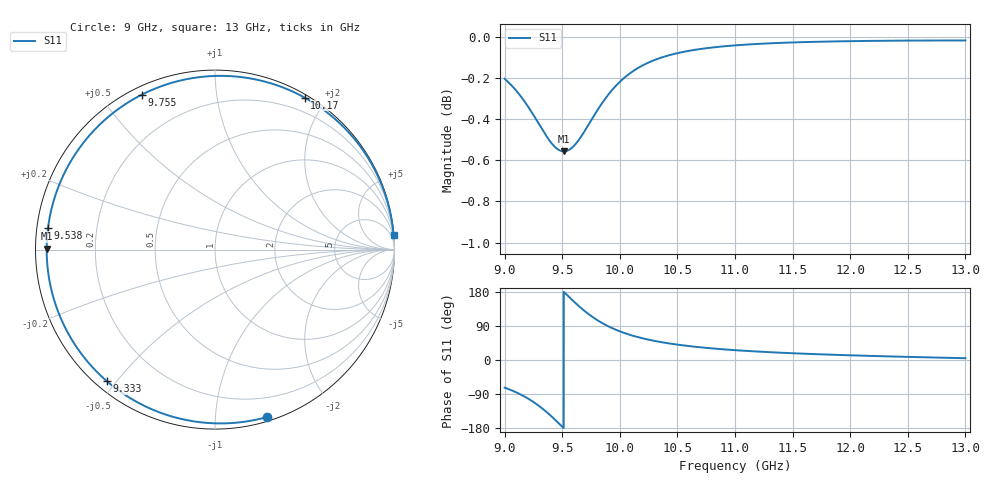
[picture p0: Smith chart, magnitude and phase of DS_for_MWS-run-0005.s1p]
! TOUCHSTONE file generated by CST DESIGN STUDIO
! Date and time: Wed Feb  5 13:31:15 2025
! Project name: C:\Work\MatlabApps\UnitCellOptimizationMatlab\CST\unitcell.cst
! Tree item: Tasks\Sweep1\SPara1\S-Parameters
! Header version: 2024
! Port assignment regex: !\s*Touchstone port\s*([0-9]+)\s*=\s*(CST MWS port|CST DES external port|CST DES block port)\s*(.+)\s* \(\"(.*)\"\)(\s*mode\s*([0-9]+))?.*
! Touchstone port assignment:
! Touchstone port 1 = CST DES external port 1 ("")
# GHz S MA R 50
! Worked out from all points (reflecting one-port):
!   4001 points, 9 GHz to 13 GHz, reference 50 ohm
!   lowest |S11| = -0.6 dB at 9.515 GHz (marker M1), VSWR 31.22, Z = 1.6 + j0.157 ohm
!   phase of S11 starts at -73 deg and turns -282 deg over the sweep
!   S11 on the Smith chart (normalised r, x): 9 GHz: 0.03, -1.35; 9.333 GHz: 0.03, -0.47; 9.538 GHz: 0.03, +0.06; 9.755 GHz: 0.03, +0.63; 10.17 GHz: 0.03, +1.75; 13 GHz: 1, +24
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9  0.9768 -72.9
9.09  0.9712 -83.9
9.194  0.9626 -100.1
9.267  0.9555 -114.3
9.333  0.9489 -129.4
9.378  0.9446 -140.9
9.425  0.941 -153.8
9.463  0.939 -164.9
9.5  0.938 -175.9
9.515  0.9379 179.6
9.538  0.9381 172.8
9.592  0.9402 156.9
9.652  0.9447 140.2
9.703  0.9495 127.2
9.755  0.9548 115.3
9.806  0.9598 104.9
9.861  0.9649 95.1
10  0.9752 75.6
10.081  0.9795 67.1
10.169  0.9832 59.4
10.32  0.9876 49.3
10.5  0.9909 40.5
10.722  0.9935 32.8
11  0.9953 26.0
11.5  0.9969 17.8
12  0.9976 12.4
12.5  0.9979 8.2
13  0.998 4.7
